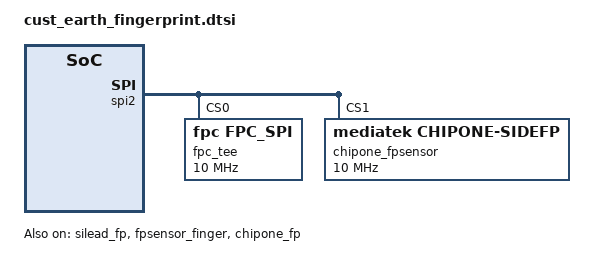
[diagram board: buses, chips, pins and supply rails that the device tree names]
/* FINGERPRINT start */
&spi2 {
	#address-cells = <1>;
	#size-cells = <0>;
/*C3T code for HQ-229719 by zhoumengxuan at 22.8.26 start*/
	/delete-property/mediatek,pad-select;
	mediatek,pad-select = <0>,<0>,<0>,<0>;
	cs-gpios = <0>,<0>,<0>,<0>;
/*C3T code for HQ-229719 by zhoumengxuan at 22.8.26 end*/
	status = "okay";
/*C3T code for HQ-224157 by zhoumengxuan at 22.7.30 start*/
	fpc_tee@0 {
		compatible = "fpc,fpc_spi";
		reg = <0>;
		fpc,enable-wakeup;
		spi-max-frequency = <10000000>;
		netlink-event = <31>;
/*C3T code for HQ-224157 by zhoumengxuan at 22.7.30 end*/
		status = "okay";
	};
/*C3T code for HQ-229719 by zhoumengxuan at 22.8.26 start*/
	chipone_fpsensor@1 {
		compatible = "mediatek,chipone-sidefp";
		reg = <1>;
		spi-max-frequency = <10000000>;
		status = "okay";
	};
/*C3T code for HQ-229719 by zhoumengxuan at 22.8.26 end*/
};

&silead_fp {
	/*C3T code for HQ-223309 by zhoumengxuan at 22.9.2 start*/
	pinctrl-names = "default", "rst-low", "rst-high" ,
	                "irq-init", "spi-default", "irq_rst-low", "irq_rst-high", "avdd-enable", "avdd-disable";
	/*C3T code for HQ-223309 by zhoumengxuan at 22.9.2 end*/
	pinctrl-0 = <&silfp_default>;
	pinctrl-1 = <&silfp_rst_low>;
	pinctrl-2 = <&silfp_rst_high>;
	pinctrl-3 = <&silfp_irq>;
	pinctrl-4 = <&fingerprint_pins_default>;
	pinctrl-5 = <&silfp_irq_rst_low>;
	pinctrl-6 = <&silfp_irq_rst_high>;
	pinctrl-7 = <&silfp_avdd_high>;
	/*C3T code for HQ-223309 by zhoumengxuan at 22.9.2 start*/
	pinctrl-8 = <&silfp_avdd_low>;
	/*C3T code for HQ-223309 by zhoumengxuan at 22.9.2 end*/
	//interrupt-parent = <&pio>;
	//interrupts = <8 IRQ_TYPE_EDGE_RISING 8 0>;
	int_gpio = <&pio 8 0>;
	status = "okay";
};

&pio {
	silfp_default: silfpdefault {
    };

	silfp_rst_high: state_reset_high {
		pins_cmd_dat {
			pinmux = <PINMUX_GPIO31__FUNC_GPIO31>;
			slew-rate = <1>;
			output-high;
		};
	};

	silfp_rst_low: state_reset_low {
		pins_cmd_dat {
			pinmux = <PINMUX_GPIO31__FUNC_GPIO31>;
			slew-rate = <1>;
			output-low;
		};
	};

	silfp_irq: fp_eint@8 {
		pins_cmd_dat {
			pinmux = <PINMUX_GPIO8__FUNC_GPIO8>;
			slew-rate = <0>;
			bias-pull-down = <00>;
		};
	};

	silfp_irq_rst_high: state_irq_to_reset_high {
        pins_cmd_dat {
            pinmux = <PINMUX_GPIO8__FUNC_GPIO8>;
            slew-rate = <1>;
            output-high;
        };
    };

    silfp_irq_rst_low: state_irq_to_reset_low {
        pins_cmd_dat {
            pinmux = <PINMUX_GPIO8__FUNC_GPIO8>;
            slew-rate = <1>;
            output-low;
        };
    };

	silfp_avdd_high: state_avdd_high {
		pins_cmd_dat {
			pinmux = <PINMUX_GPIO160__FUNC_GPIO160>;
			slew-rate = <1>;
			output-high;
		};
	};
	/*C3T code for HQ-223309 by zhoumengxuan at 22.9.2 start*/
	silfp_avdd_low: state_avdd_low {
		pins_cmd_dat {
			pinmux = <PINMUX_GPIO160__FUNC_GPIO160>;
			slew-rate = <1>;
			output-low;
		};
	};
	/*C3T code for HQ-223309 by zhoumengxuan at 22.9.2 end*/
};

&pio{
	fingerprint_pins_default: fp_default {
        pins_cmd_dat {
            pinmux = <PINMUX_GPIO25__FUNC_SPI2_CSB>;
            slew-rate = <1>;
            bias-pull-up;
        };

        pins_cmd2_dat {
            pinmux = <PINMUX_GPIO27__FUNC_SPI2_CLK>;
            slew-rate = <1>;
            drive-strength = <2>;
            bias-pull-down;
        };

        pins_cmd3_dat {
            pinmux = <PINMUX_GPIO28__FUNC_SPI2_MI>;
            slew-rate = <0>;
            bias-pull-down;
        };

        pins_cmd4_dat {
            pinmux = <PINMUX_GPIO26__FUNC_SPI2_MO>;
            slew-rate = <1>;
            bias-pull-down;
        };
    };
};
/*C3T code for HQ-224157 by zhoumengxuan at 22.7.30 start*/
&fpsensor_finger {
	pinctrl-names = "fpsensor_fpc_rst_low", "fpsensor_fpc_rst_high",
					"fpsensor_fp_power_high";
	pinctrl-0 = <&fpsensor_fpc_rst_low>;
	pinctrl-1 = <&fpsensor_fpc_rst_high>;
	pinctrl-2 = <&fpsensor_fp_power_high>;
	status = "okay";
};

&pio {
	fpsensor_fpc_rst_low: fpsensor_fpc_rst_low {
		pins_cmd_dat {
			pinmux = <PINMUX_GPIO31__FUNC_GPIO31>;
			slew-rate = <1>;
			output-low;
		};
	};

	fpsensor_fpc_rst_high: fpsensor_fpc_rst_high {
		pins_cmd_dat {
			pinmux = <PINMUX_GPIO31__FUNC_GPIO31>;
			slew-rate = <1>;
			output-high;
		};
	};

	fpsensor_fp_power_high: fpsensor_fp_power_high {
		pins_cmd_dat {
			pinmux = <PINMUX_GPIO160__FUNC_GPIO160>;
			slew-rate = <1>;
			output-high;
		};
	};
};
/*C3T code for HQ-224157 by zhoumengxuan at 22.7.30 end*/

/*C3T code for HQ-229719 by zhoumengxuan at 22.8.26 start*/
&chipone_fp {
	pinctrl-names = "fpsensor_spi_default", "fpsensor_spi_cs_low","fpsensor_spi_cs_high","fpsensor_spi_mi_low","fpsensor_spi_mi_high",
					"fpsensor_spi_mo_low","fpsensor_spi_mo_high","fpsensor_spi_mclk_low","fpsensor_spi_mclk_high",
					"fpsensor_finger_rst_low","fpsensor_finger_rst_high","fpsensor_finger_power_low","fpsensor_finger_power_high",
					"fpsensor_eint","fpsensor_eint_in_low","fpsensor_eint_in_float","fpsensor_finger_cs_low","fpsensor_finger_cs_high";
	pinctrl-0 = <&fpsensor_spi_default>;
	pinctrl-1 = <&fpsensor_spi_cs_en0>;
	pinctrl-2 = <&fpsensor_spi_cs_en1>;
	pinctrl-3 = <&fpsensor_spi_mi_mode_en0>;
	pinctrl-4 = <&fpsensor_spi_mi_mode_en1>;
	pinctrl-5 = <&fpsensor_spi_mo_mode_en0>;
	pinctrl-6 = <&fpsensor_spi_mo_mode_en1>;
	pinctrl-7 = <&fpsensor_spi_mclk_mode_en0>;
	pinctrl-8 = <&fpsensor_spi_mclk_mode_en1>;
	pinctrl-9 = <&fpsensor_finger_rst_mode_en0>;
	pinctrl-10 = <&fpsensor_finger_rst_mode_en1>;
	pinctrl-11 = <&fpsensor_finger_power_en0>;
	pinctrl-12 = <&fpsensor_finger_power_en1>;
	pinctrl-13 = <&fpsensor_fp_eint_as_int>;
	pinctrl-14 = <&fpsensor_fp_eint_in_low>;
	pinctrl-15 = <&fpsensor_fp_eint_in_float>;
	pinctrl-16 = <&fpsensor_finger_cs_mode_en0>;
	pinctrl-17 = <&fpsensor_finger_cs_mode_en1>;

	//interrupt-parent = <&pio>;
	//interrupts = <8 IRQ_TYPE_EDGE_RISING>;
	int_fpgpio = <&pio 8 0>;
	debounce = <8 0>;

	status = "okay";
};

&pio {
	fpsensor_spi_default: fpsensor_spi_default {
	};

	fpsensor_spi_cs_en0: fpsensor_spi_cs_low {
		pins_cmd_dat {
			pinmux = <PINMUX_GPIO25__FUNC_SPI2_CSB>;
			slew-rate = <1>;
			output-low;
		};
	};
	fpsensor_spi_cs_en1: fpsensor_spi_cs_high {
		pins_cmd_dat {
			pinmux = <PINMUX_GPIO25__FUNC_SPI2_CSB>;
			slew-rate = <1>;
			output-high;
		};
	};
	fpsensor_spi_mi_mode_en0: fpsensor_spi_mi_low {
		pins_cmd_dat {
			pinmux = <PINMUX_GPIO28__FUNC_SPI2_MI>;
			slew-rate = <0>;
			bias-pull-up = <00>;
		};
	};
	fpsensor_spi_mi_mode_en1: fpsensor_spi_mi_high {
		pins_cmd_dat {
			pinmux = <PINMUX_GPIO28__FUNC_SPI2_MI>;
			bias-disable;
		};
	};
	fpsensor_spi_mo_mode_en0: fpsensor_spi_mo_low {
		pins_cmd_dat {
			pinmux = <PINMUX_GPIO26__FUNC_SPI2_MO>;
			slew-rate = <1>;
			output-low;
		};
	};
	fpsensor_spi_mo_mode_en1: fpsensor_spi_mo_high {
		pins_cmd_dat {
			pinmux = <PINMUX_GPIO26__FUNC_SPI2_MO>;
			slew-rate = <1>;
			output-high;
		};
	};
	fpsensor_spi_mclk_mode_en0: fpsensor_spi_mclk_low {
		pins_cmd_dat {
			pinmux = <PINMUX_GPIO27__FUNC_SPI2_CLK>;
			slew-rate = <1>;
			output-low;
		};
	};
	fpsensor_spi_mclk_mode_en1: fpsensor_spi_mclk_high {
		pins_cmd_dat {
			pinmux = <PINMUX_GPIO27__FUNC_SPI2_CLK>;
			slew-rate = <1>;
			output-high;
		};
	};
	fpsensor_finger_rst_mode_en0: fpsensor_finger_rst_low {
		pins_cmd_dat {
			pinmux = <PINMUX_GPIO31__FUNC_GPIO31>;
			slew-rate = <1>;
			output-low;
		};
	};
	fpsensor_finger_rst_mode_en1: fpsensor_finger_rst_high {
		pins_cmd_dat {
			pinmux = <PINMUX_GPIO31__FUNC_GPIO31>;
			slew-rate = <1>;
			output-high;
		};
	};
	fpsensor_finger_power_en0: fpsensor_finger_power_low {
		pins_cmd_dat {
			pinmux = <PINMUX_GPIO160__FUNC_GPIO160>;
			slew-rate = <1>;
			output-low;
		};
	};
	fpsensor_finger_power_en1: fpsensor_finger_power_high {
		pins_cmd_dat {
			pinmux = <PINMUX_GPIO160__FUNC_GPIO160>;
			slew-rate = <1>;
			output-high;
		};
	};
	fpsensor_fp_eint_as_int: fpsensor_eint_as_int {
		pins_cmd_dat {
			pinmux = <PINMUX_GPIO8__FUNC_GPIO8>;
			slew-rate = <0>;
			bias-disable;
		};
	};
	fpsensor_fp_eint_in_low: fpsensor_eint_in_low {
		pins_cmd_dat {
			pinmux = <PINMUX_GPIO8__FUNC_GPIO8>;
			slew-rate = <0>;
			bias-pull-down = <00>;
		};
	};
	fpsensor_fp_eint_in_float: fpsensor_eint_in_float {
		pins_cmd_dat {
			pinmux = <PINMUX_GPIO8__FUNC_GPIO8>;
			slew-rate = <0>;
			bias-disable;
		};
	};
	fpsensor_finger_cs_mode_en0: fpsensor_finger_cs_low {
		pins_cmd_dat {
			pinmux = <PINMUX_GPIO25__FUNC_SPI2_CSB>;
			slew-rate = <1>;
			output-low;
		};
	};
	fpsensor_finger_cs_mode_en1: fpsensor_finger_cs_high {
		pins_cmd_dat {
			pinmux = <PINMUX_GPIO25__FUNC_SPI2_CSB>;
			slew-rate = <1>;
			output-high;
		};
	};
};
/*C3T code for HQ-229719 by zhoumengxuan at 22.8.26 end*/
/* FINGERPRINT end */
